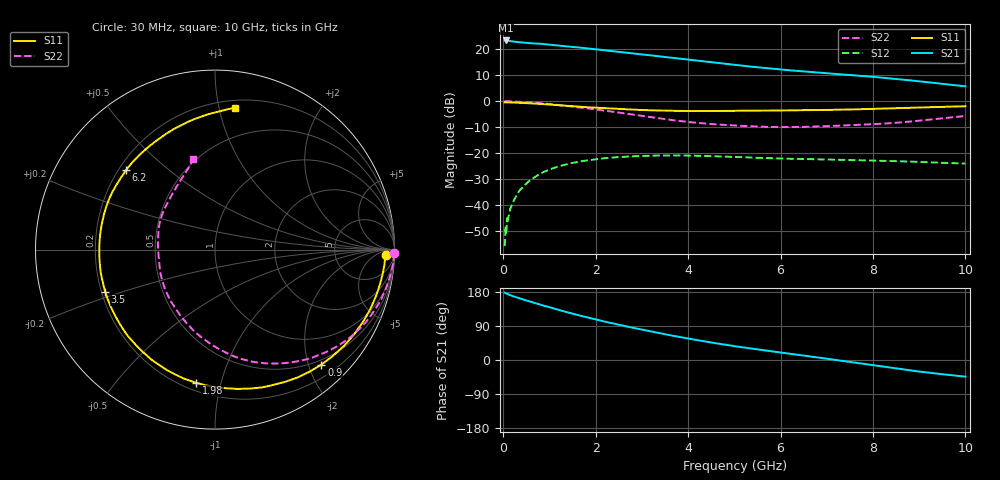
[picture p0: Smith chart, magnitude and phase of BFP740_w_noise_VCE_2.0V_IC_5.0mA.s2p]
! Infineon Technologies  Discrete & RF Semiconductors
! BFP740
! VCE =  2.0 V,  IC =  5.0 mA
! Common Emitter S-Parameters:  Jan 2016
# GHz  S  MA  R  50
!  f  S11  S21  S12  S22
! GHz  MAG  ANG  MAG  ANG  MAG  ANG  MAG  ANG
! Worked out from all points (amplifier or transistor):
!   229 points, 30 MHz to 10 GHz, reference 50 ohm
!   highest |S21| = 23.4 dB at 50 MHz (marker M1)
!   |S21| within 3 dB of that: start of sweep to 1.779 GHz
!   unconditionally stable (mu >= 1): 7.898 GHz to end of sweep
!   at 280 MHz: K = 0.07, MSG = 29.7 dB, |S12| = -36.7 dB
!   at 1.78 GHz: K = 0.23, MSG = 21.7 dB, |S12| = -22.9 dB
!   at 10 GHz: K = 1.18, MAG = 12.4 dB, |S12| = -24.1 dB
!   lowest NFmin = 0.44 dB at 450 MHz
!   S11 on the Smith chart (normalised r, x): 30 MHz: 29, -17; 900 MHz: 0.41, -2.22; 1.98 GHz: 0.25, -0.84; 3.5 GHz: 0.21, -0.18; 6.2 GHz: 0.23, +0.37; 10 GHz: 0.26, +1.12
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0.03  0.9504 -1.7  14.76 177.6  0.0016 75.3  0.9982 -1.2
0.05  0.9501 -2.7  14.79 176.6  0.0039 93.5  0.9992 -1.9
0.07  0.9478 -4.0  14.71 175.3  0.0027 77.5  0.9966 -2.7
0.08  0.9483 -4.5  14.68 174.6  0.0055 83.3  0.9975 -3.2
0.195  0.9407 -10.7  14.2 169.0  0.0104 85.4  0.9893 -7.6
0.4  0.9255 -21.5  13.57 160.9  0.0209 75.5  0.9695 -15.1
0.8  0.8842 -42.2  12.79 146.1  0.0399 63.4  0.9166 -29.1
0.9  0.873 -47.2  12.55 142.5  0.0442 60.0  0.9002 -32.5
1.2  0.8338 -62.1  11.84 131.9  0.0554 51.0  0.843 -42.5
1.7  0.7749 -85.6  10.68 116.0  0.0697 38.2  0.7484 -57.4
1.98  0.7492 -98.0  10.04 107.8  0.0756 31.6  0.6955 -65.7
2.24  0.7266 -109.4  9.46 100.1  0.08 25.8  0.6483 -73.1
2.6  0.6994 -124.3  8.724 90.4  0.0845 18.6  0.5848 -82.8
3.1  0.6704 -144.0  7.803 77.6  0.0882 9.5  0.5044 -96.6
3.4  0.6587 -155.1  7.276 70.3  0.0897 4.5  0.4644 -105.3
3.5  0.6556 -158.9  7.122 68.0  0.0893 3.1  0.4499 -108.3
4.2  0.6449 178.1  6.034 52.3  0.0884 -7.1  0.3814 -129.3
5.1  0.6523 156.1  4.901 34.8  0.0834 -16.4  0.3356 -153.1
6.2  0.6639 138.1  3.934 16.6  0.0776 -23.5  0.3165 -178.5
6.8  0.6743 128.8  3.561 6.8  0.0755 -26.9  0.3239 168.0
8.4  0.7267 102.2  2.732 -20.4  0.0701 -34.7  0.3771 132.8
10  0.7977 82.1  1.93 -44.0  0.0626 -38.6  0.5174 103.5
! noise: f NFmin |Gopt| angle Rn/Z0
0.45  0.44  0.4  11  0.23
0.9  0.45  0.41  17  0.22
1.5  0.49  0.39  26  0.21
1.9  0.52  0.38  42  0.21
2.4  0.55  0.38  46  0.2
3.5  0.65  0.35  68  0.18
5.5  0.87  0.24  164  0.16
10  1.52  0.55  -82  0.21
